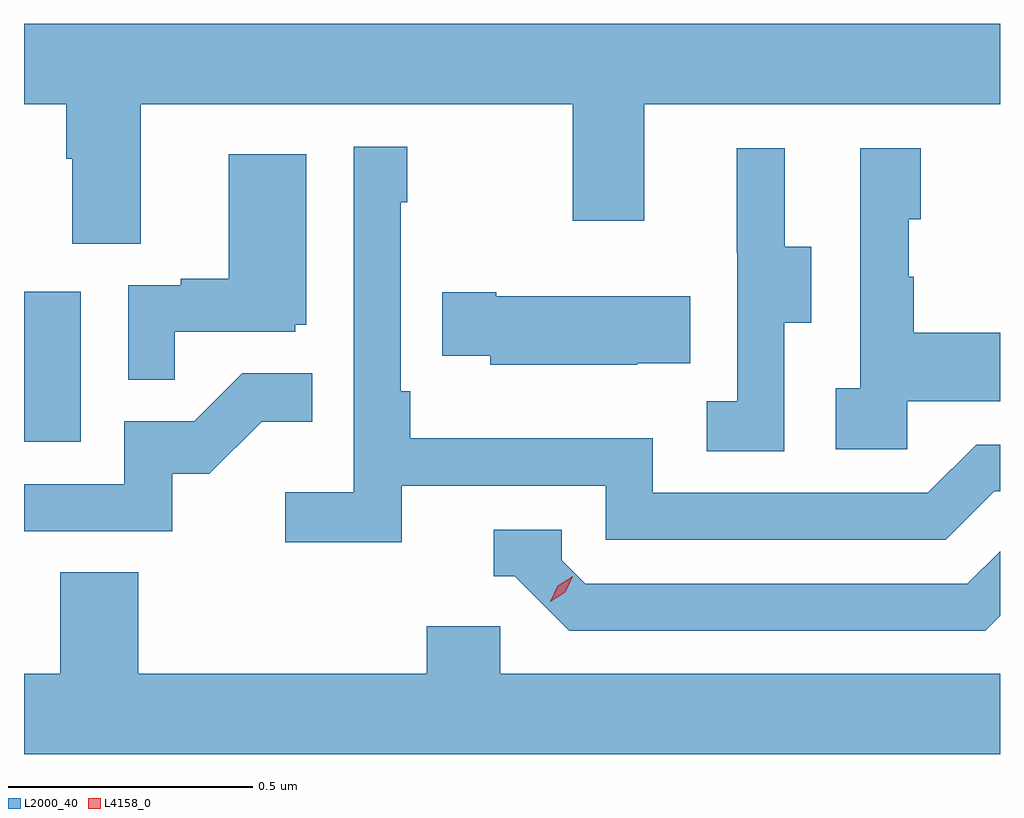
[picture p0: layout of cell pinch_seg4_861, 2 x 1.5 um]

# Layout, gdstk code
import gdstk
lib = gdstk.Library(unit=1e-6, precision=1e-09)
def R(c, l, rs):  # rectangles x0, y0, x1, y1
    for r in rs: c.add(gdstk.rectangle(r[:2], r[2:], *l))
def P(c, l, *ps):  # polygons
    for p in ps: c.add(gdstk.Polygon(p, *l))
L2000_40 = (2000, 40)
L4158_0 = (4158, 0)

pinch_seg4_861 = lib.new_cell('pinch_seg4_861')
R(pinch_seg4_861, L2000_40, [(860.894,792.132,861.01,792.439)])
P(pinch_seg4_861, L2000_40, [(861.133,792.824),(862.018,792.824),(862.018,792.585),(862.165,792.585),(862.165,792.824),(862.894,792.824),(862.894,792.988),(860.894,792.988),(860.894,792.824),(860.981,792.824),(860.981,792.712),(860.993,792.712),(860.993,792.538),(861.133,792.538)],
  [(861.668,792.042),(862.086,792.042),(862.086,791.931),(862.783,791.931),(862.882,792.03),(862.894,792.03),(862.894,792.126),(862.845,792.126),(862.746,792.027),(862.182,792.027),(862.182,792.139),(861.686,792.139),(861.686,792.235),(861.666,792.235),(861.666,792.623),(861.679,792.623),(861.679,792.736),(861.57,792.736),(861.57,792.028),(861.429,792.028),(861.429,791.926),(861.668,791.926)],
  [(862.452,792.376),(862.507,792.376),(862.507,792.531),(862.453,792.531),(862.453,792.733),(862.355,792.733),(862.355,792.519),(862.356,792.519),(862.356,792.215),(862.293,792.215),(862.293,792.112),(862.452,792.112)],
  [(862.704,792.215),(862.894,792.215),(862.894,792.355),(862.717,792.355),(862.717,792.47),(862.707,792.47),(862.707,792.588),(862.732,792.588),(862.732,792.733),(862.608,792.733),(862.608,792.242),(862.557,792.242),(862.557,792.117),(862.704,792.117)],
  [(861.203,792.357),(861.45,792.357),(861.45,792.372),(861.472,792.372),(861.472,792.721),(861.314,792.721),(861.314,792.466),(861.215,792.466),(861.215,792.453),(861.108,792.453),(861.108,792.259),(861.203,792.259)],
  [(862.151,792.293),(862.259,792.293),(862.259,792.43),(861.862,792.43),(861.862,792.438),(861.751,792.438),(861.751,792.308),(861.849,792.308),(861.849,792.29),(862.151,792.29)],
  [(861.198,792.066),(861.274,792.066),(861.381,792.173),(861.485,792.173),(861.485,792.272),(861.341,792.272),(861.243,792.174),(861.099,792.174),(861.099,792.045),(860.894,792.045),(860.894,791.949),(861.198,791.949)],
  [(862.894,791.775),(862.894,791.908),(862.827,791.841),(862.044,791.841),(861.996,791.889),(861.996,791.952),(861.857,791.952),(861.857,791.856),(861.9,791.856),(862.011,791.745),(862.864,791.745)],
  [(862.894,791.656),(861.87,791.656),(861.87,791.754),(861.719,791.754),(861.719,791.656),(861.128,791.656),(861.128,791.864),(860.968,791.864),(860.968,791.656),(860.894,791.656),(860.894,791.492),(862.894,791.492)])
P(pinch_seg4_861, L4158_0, [(861.972,791.804),(861.972,791.804),(861.988,791.837),(862.018,791.856),(862.018,791.856),(862.018,791.856),(862.003,791.823),(861.972,791.804)])

lib.write_gds('pinch_seg4_861.gds')
